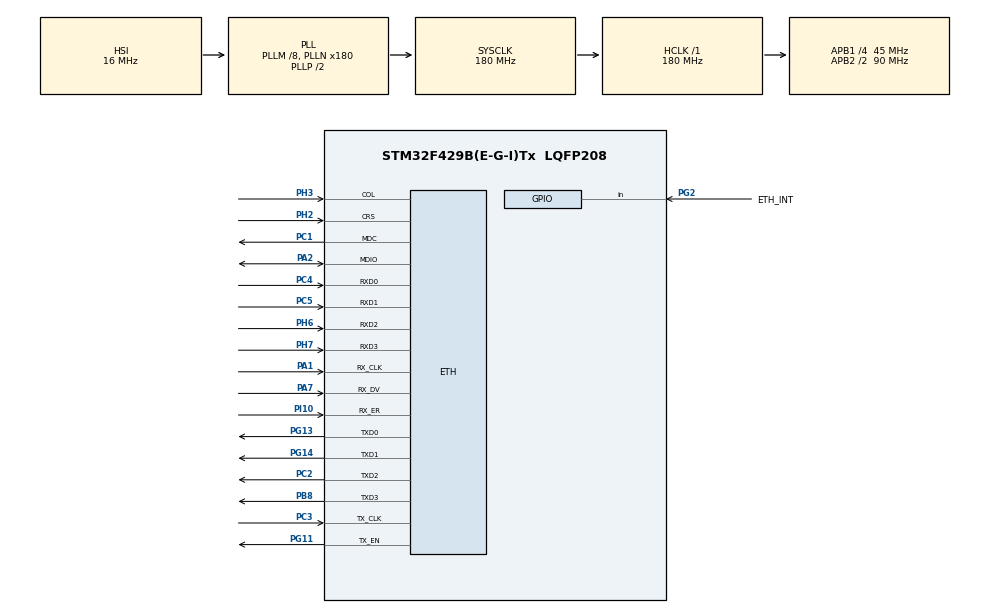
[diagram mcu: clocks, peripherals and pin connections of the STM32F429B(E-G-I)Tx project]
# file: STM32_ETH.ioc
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ETH.MediaInterface=HAL_ETH_MII_MODE
LWIP.BSP.number=1
LWIP.GATEWAY_ADDRESS=192.168.000.001
LWIP.IP_ADDRESS=192.168.000.010
LWIP.LWIP_DHCP=0
LWIP.MEM_SIZE=10*1024
LWIP.NETMASK_ADDRESS=255.255.255.000
LWIP.Version=v2.1.2_Cube
LWIP0.BSP.STBoard=false
LWIP0.BSP.api=BSP_COMPONENT_DRIVER
LWIP0.BSP.component=DP83848
LWIP0.BSP.instance=DP83848
LWIP0.BSP.name=Driver_PHY
LWIP0.BSP.semaphore=S_DP83848
LWIP0.BSP.solution=DP83848
Mcu.Family=STM32F4
Mcu.Name=STM32F429B(E-G-I)Tx
Mcu.Package=LQFP208
NVIC.ETH_IRQn=true\:0\:0\:false\:false\:true\:true\:true\:true
NVIC.PriorityGroup=NVIC_PRIORITYGROUP_4
PA1.Mode=MII
PA1.Signal=ETH_RX_CLK
PA13.Mode=Serial_Wire
PA13.Signal=SYS_JTMS-SWDIO
PA14.Mode=Serial_Wire
PA14.Signal=SYS_JTCK-SWCLK
PA2.Mode=MII
PA2.Signal=ETH_MDIO
PA7.Mode=MII
PA7.Signal=ETH_RX_DV
PB8.Mode=MII
PB8.Signal=ETH_TXD3
PC1.Mode=MII
PC1.Signal=ETH_MDC
PC2.Mode=MII
PC2.Signal=ETH_TXD2
PC3.Mode=MII
PC3.Signal=ETH_TX_CLK
PC4.Mode=MII
PC4.Signal=ETH_RXD0
PC5.Mode=MII
PC5.Signal=ETH_RXD1
PG11.Mode=MII
PG11.Signal=ETH_TX_EN
PG13.Mode=MII
PG13.Signal=ETH_TXD0
PG14.Mode=MII
PG14.Signal=ETH_TXD1
PG2.GPIO_Label=ETH_INT
PG2.Signal=GPIO_Input
PH2.Mode=MII
PH2.Signal=ETH_CRS
PH3.Mode=MII
PH3.Signal=ETH_COL
PH6.Mode=MII
PH6.Signal=ETH_RXD2
PH7.Mode=MII
PH7.Signal=ETH_RXD3
PI10.Mode=Activate Rx Err signal
PI10.Signal=ETH_RX_ER
ProjectManager.HeapSize=0x200
ProjectManager.StackSize=0x400
ProjectManager.TargetToolchain=STM32CubeIDE
RCC.48MHZClocksFreq_Value=90000000
RCC.AHBFreq_Value=180000000
RCC.APB1CLKDivider=RCC_HCLK_DIV4
RCC.APB1Freq_Value=45000000
RCC.APB1TimFreq_Value=90000000
RCC.APB2CLKDivider=RCC_HCLK_DIV2
RCC.APB2Freq_Value=90000000
RCC.APB2TimFreq_Value=180000000
RCC.CortexFreq_Value=180000000
RCC.HCLKFreq_Value=180000000
RCC.HSE_VALUE=25000000
RCC.HSI_VALUE=16000000
RCC.LSE_VALUE=32768
RCC.PLLM=8
RCC.PLLN=180
RCC.SYSCLKFreq_VALUE=180000000
RCC.SYSCLKSource=RCC_SYSCLKSOURCE_PLLCLK
RCC.VCOOutputFreq_Value=360000000
VP_LWIP_VS_Enabled.Mode=Enabled
board=custom

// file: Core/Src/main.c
/* USER CODE BEGIN Header */
/**
  ******************************************************************************
  * @file           : main.c
  * @brief          : Main program body
  ******************************************************************************
  * @attention
  *
  * Copyright (c) 2024 STMicroelectronics.
  * All rights reserved.
  *
  * This software is licensed under terms that can be found in the LICENSE file
  * in the root directory of this software component.
  * If no LICENSE file comes with this software, it is provided AS-IS.
  *
  ******************************************************************************
  */
/* USER CODE END Header */
#include "main.h"
#include "lwip.h"

/* USER CODE BEGIN Includes */
#include "udpserver.h"
#include "dp83848.h"
/* USER CODE END Includes */

/* USER CODE BEGIN PV */
extern struct netif gnetif;
extern struct udp_pcb *upcb;

extern ip4_addr_t CTS_IPADDR;
extern uint16_t CTS_PORT;

 uint8_t receive_buffer[MAX_BUF_SIZE];
 uint32_t receive_buffer_size;

 uint8_t  response_buffer[30];
 extern dp83848_Object_t DP83848;
 extern dp83848_IOCtx_t  IO;
 uint32_t phy_reg_val[30];
 int32_t *read_reg;
 int32_t *write_reg;

/* USER CODE END PV */

void SystemClock_Config(void);
static void MX_GPIO_Init(void);

int main(void)
{

  /* MCU Configuration--------------------------------------------------------*/

  /* Reset of all peripherals, Initializes the Flash interface and the Systick. */
  HAL_Init();

  /* Configure the system clock */
  SystemClock_Config();

  /* Initialize all configured peripherals */
  MX_GPIO_Init();
  MX_LWIP_Init();
  /* USER CODE BEGIN 2 */

//
  udpServer_init();
  IP_ADDR4(&CTS_IPADDR, 192, 168, 0, 15);
  CTS_PORT = 8080;

  /* USER CODE END 2 */

  /* Infinite loop */
  /* USER CODE BEGIN WHILE */
  while (1)
  {
	 MX_LWIP_Process();

    /* USER CODE END WHILE */

  }
}

void SystemClock_Config(void)
{
  RCC_OscInitTypeDef RCC_OscInitStruct = {0};
  RCC_ClkInitTypeDef RCC_ClkInitStruct = {0};

  /** Configure the main internal regulator output voltage
  */
  __HAL_RCC_PWR_CLK_ENABLE();
  __HAL_PWR_VOLTAGESCALING_CONFIG(PWR_REGULATOR_VOLTAGE_SCALE1);

  /** Initializes the RCC Oscillators according to the specified parameters
  * in the RCC_OscInitTypeDef structure.
  */
  RCC_OscInitStruct.OscillatorType = RCC_OSCILLATORTYPE_HSI;
  RCC_OscInitStruct.HSIState = RCC_HSI_ON;
  RCC_OscInitStruct.HSICalibrationValue = RCC_HSICALIBRATION_DEFAULT;
  RCC_OscInitStruct.PLL.PLLState = RCC_PLL_ON;
  RCC_OscInitStruct.PLL.PLLSource = RCC_PLLSOURCE_HSI;
  RCC_OscInitStruct.PLL.PLLM = 8;
  RCC_OscInitStruct.PLL.PLLN = 180;
  RCC_OscInitStruct.PLL.PLLP = RCC_PLLP_DIV2;
  RCC_OscInitStruct.PLL.PLLQ = 4;
  if (HAL_RCC_OscConfig(&RCC_OscInitStruct) != HAL_OK)
  {
    Error_Handler();
  }

  /** Activate the Over-Drive mode
  */
  if (HAL_PWREx_EnableOverDrive() != HAL_OK)
  {
    Error_Handler();
  }

  /** Initializes the CPU, AHB and APB buses clocks
  */
  RCC_ClkInitStruct.ClockType = RCC_CLOCKTYPE_HCLK|RCC_CLOCKTYPE_SYSCLK
                              |RCC_CLOCKTYPE_PCLK1|RCC_CLOCKTYPE_PCLK2;
  RCC_ClkInitStruct.SYSCLKSource = RCC_SYSCLKSOURCE_PLLCLK;
  RCC_ClkInitStruct.AHBCLKDivider = RCC_SYSCLK_DIV1;
  RCC_ClkInitStruct.APB1CLKDivider = RCC_HCLK_DIV4;
  RCC_ClkInitStruct.APB2CLKDivider = RCC_HCLK_DIV2;

  if (HAL_RCC_ClockConfig(&RCC_ClkInitStruct, FLASH_LATENCY_5) != HAL_OK)
  {
    Error_Handler();
  }
}

static void MX_GPIO_Init(void)
{
  GPIO_InitTypeDef GPIO_InitStruct = {0};

  /* GPIO Ports Clock Enable */
  __HAL_RCC_GPIOI_CLK_ENABLE();
  __HAL_RCC_GPIOC_CLK_ENABLE();
  __HAL_RCC_GPIOA_CLK_ENABLE();
  __HAL_RCC_GPIOH_CLK_ENABLE();
  __HAL_RCC_GPIOG_CLK_ENABLE();
  __HAL_RCC_GPIOB_CLK_ENABLE();

  /*Configure GPIO pin : ETH_INT_Pin */
  GPIO_InitStruct.Pin = ETH_INT_Pin;
  GPIO_InitStruct.Mode = GPIO_MODE_INPUT;
  GPIO_InitStruct.Pull = GPIO_NOPULL;
  HAL_GPIO_Init(ETH_INT_GPIO_Port, &GPIO_InitStruct);

}

void Error_Handler(void)
{
  __disable_irq();
  while (1)
  {
  }
}
